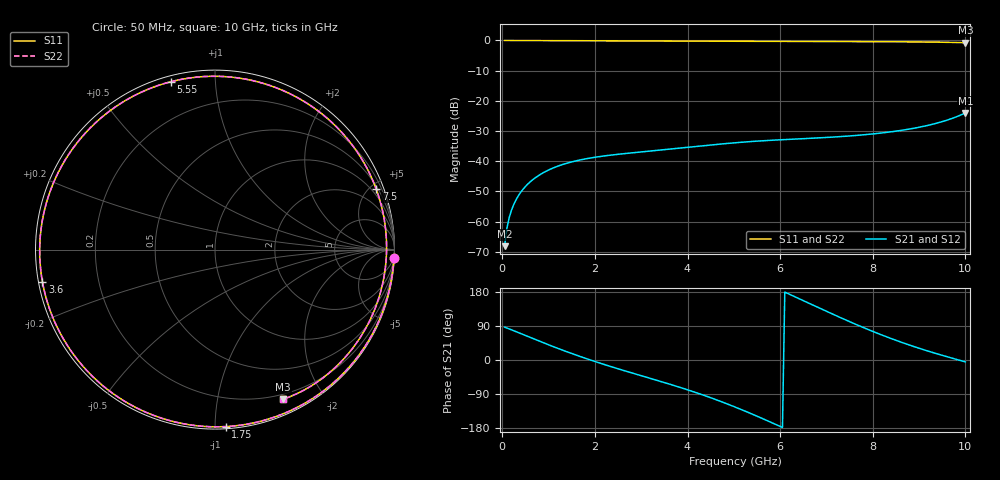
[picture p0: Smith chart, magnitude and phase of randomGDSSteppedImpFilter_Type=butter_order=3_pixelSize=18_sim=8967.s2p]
! freq	dB(S11)	phase(S11)	dB(S12)	phase(S12)
!  dB(S21)	phase(S21)	dB(S22)	phase(S22)
!S-par simulation data
#  GHz  S  DB  R 50
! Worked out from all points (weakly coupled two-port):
!   200 points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, 50 MHz to 10 GHz, reference 50 ohm
!   highest |S21| = -24.00 dB at 10 GHz (marker M1); lowest = -68.1 dB at 50 MHz (marker M2)
!   lowest |S11| = -0.8 dB at 10 GHz (marker M3), VSWR 22.79, Z = 7.47 - j77.3 ohm
!   |S11| at or under -10 dB: nowhere
!   |S22| runs from -0.8 to 0.0 dB; largest |S21 - S12| = 0
!   S11 on the Smith chart (normalised r, x): 50 MHz: 1, -43; 1.75 GHz: 0.01, -1.06; 3.6 GHz: 0.01, -0.09; 5.55 GHz: 0.03, +0.77; 7.5 GHz: 0.64, +5.44; 10 GHz: 0.15, -1.55
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0.05  -0.01 -2.6  -68.10 86.7  -68.10 86.7  -0.01 -2.6
0.1  -0.02 -5.2  -62.12 84.5  -62.12 84.5  -0.02 -5.2
0.2  -0.03 -10.3  -56.13 79.6  -56.13 79.6  -0.03 -10.3
0.35  -0.03 -17.9  -51.34 72.0  -51.34 72.0  -0.03 -17.9
0.5  -0.04 -25.5  -48.34 64.5  -48.34 64.5  -0.04 -25.5
0.8  -0.05 -40.5  -44.55 49.7  -44.55 49.7  -0.05 -40.5
1.15  -0.07 -57.8  -41.90 33.0  -41.90 33.0  -0.07 -57.8
1.75  -0.11 -86.6  -39.34 6.3  -39.34 6.3  -0.11 -86.6
2.1  -0.12 -102.8  -38.44 -7.9  -38.44 -7.9  -0.12 -102.8
2.5  -0.14 -120.9  -37.69 -23.2  -37.69 -23.2  -0.14 -120.9
2.95  -0.16 -140.9  -36.99 -39.6  -36.99 -39.6  -0.16 -140.9
3.4  -0.18 -160.6  -36.32 -55.9  -36.32 -55.9  -0.18 -160.6
3.6  -0.19 -169.3  -36.02 -63.2  -36.02 -63.2  -0.19 -169.3
4.3  -0.23 160.1  -34.92 -90.9  -34.92 -90.9  -0.23 160.2
5.05  -0.27 127.0  -33.84 -125.2  -33.84 -125.2  -0.27 127.0
5.55  -0.29 104.7  -33.28 -150.9  -33.28 -150.9  -0.29 104.7
6.1  -0.31 80.1  -32.81 179.2  -32.81 179.2  -0.31 80.1
6.7  -0.33 53.8  -32.36 145.4  -32.36 145.4  -0.33 53.9
7.5  -0.36 20.5  -31.62 101.2  -31.62 101.2  -0.36 20.6
8.35  -0.42 -11.6  -30.34 58.7  -30.34 58.7  -0.42 -11.5
9.2  -0.53 -40.3  -28.08 23.3  -28.08 23.3  -0.53 -40.3
10  -0.76 -65.4  -24.00 -5.0  -24.00 -5.0  -0.76 -65.5
